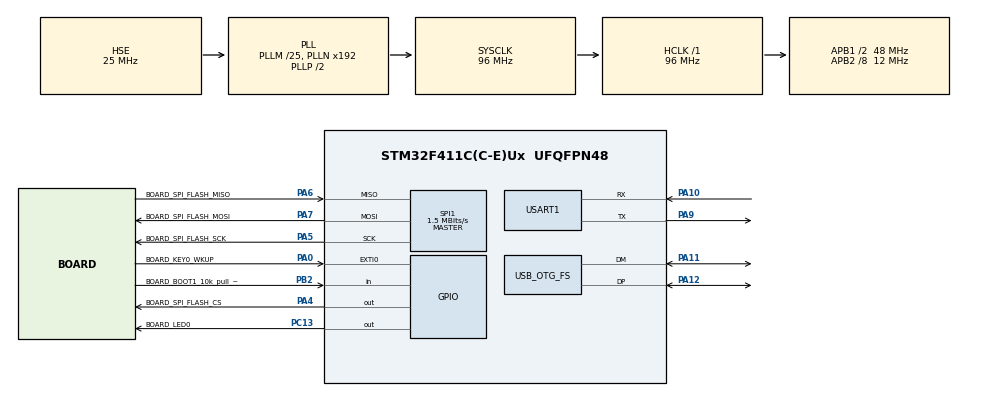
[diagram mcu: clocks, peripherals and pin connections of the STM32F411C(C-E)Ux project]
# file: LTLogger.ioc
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Mcu.Family=STM32F4
Mcu.Name=STM32F411C(C-E)Ux
Mcu.Package=UFQFPN48
Mcu.UserConstants=BOARD_LED0_polarity,0;BOARD_SPI_FLASH,$$_SPI1_IP_HANDLE_$$;BOARD_SPI_FLASH_CSpolarity,0;UART_TRACE,$$_USART1_IP_HANDLE_$$;BOARD_Xtal,25000000;BOARD_KEY0_polarity,0;BOARD_MEM_flash,512;BOARD_MEM_ram,128;BOARD_SPI_FLASH_size,8MBx8;BOARD_SPI_FLASH_pages,32768;BOARD_SPI_FLASH_pagesize,256;BOARD_SPI_FLASH_erasePageCntFor4k,16;BOARD_SPI_FLASH_erasePageCntFor32k,128;BOARD_SPI_FLASH_erasePageCntFor64k,256;BOARD_SPI_FLASH_eraseFull,full_chip_erase
NVIC.EXTI0_IRQn=true\:0\:0\:false\:false\:true\:true\:true\:true
NVIC.OTG_FS_IRQn=true\:0\:0\:false\:false\:true\:false\:true\:true
NVIC.PriorityGroup=NVIC_PRIORITYGROUP_4
NVIC.TIM1_TRG_COM_TIM11_IRQn=true\:15\:0\:false\:false\:true\:false\:true\:true
NVIC.TimeBase=TIM1_TRG_COM_TIM11_IRQn
NVIC.TimeBaseIP=TIM11
PA0-WKUP.GPIO_Label=BOARD_KEY0_WKUP
PA0-WKUP.GPIO_ModeDefaultEXTI=GPIO_MODE_IT_RISING_FALLING
PA0-WKUP.GPIO_PuPd=GPIO_PULLUP
PA0-WKUP.Signal=GPXTI0
PA10.Mode=Asynchronous
PA10.Signal=USART1_RX
PA11.Mode=Device_Only
PA11.Signal=USB_OTG_FS_DM
PA12.Mode=Device_Only
PA12.Signal=USB_OTG_FS_DP
PA13.Mode=Trace_Asynchronous_SW
PA13.Signal=SYS_JTMS-SWDIO
PA14.Mode=Trace_Asynchronous_SW
PA14.Signal=SYS_JTCK-SWCLK
PA4.GPIO_Label=BOARD_SPI_FLASH_CS
PA4.GPIO_Speed=GPIO_SPEED_FREQ_VERY_HIGH
PA4.PinState=GPIO_PIN_SET
PA4.Signal=GPIO_Output
PA5.GPIO_Label=BOARD_SPI_FLASH_SCK
PA5.Mode=Full_Duplex_Master
PA5.Signal=SPI1_SCK
PA6.GPIO_Label=BOARD_SPI_FLASH_MISO
PA6.Mode=Full_Duplex_Master
PA6.Signal=SPI1_MISO
PA7.GPIO_Label=BOARD_SPI_FLASH_MOSI
PA7.Mode=Full_Duplex_Master
PA7.Signal=SPI1_MOSI
PA9.Mode=Asynchronous
PA9.Signal=USART1_TX
PB2.GPIO_Label=BOARD_BOOT1_10k_pull_down
PB2.Signal=GPIO_Input
PB3.Mode=Trace_Asynchronous_SW
PB3.Signal=SYS_JTDO-SWO
PC13-ANTI_TAMP.GPIO_Label=BOARD_LED0
PC13-ANTI_TAMP.PinState=GPIO_PIN_SET
PC13-ANTI_TAMP.Signal=GPIO_Output
PC14-OSC32_IN.Mode=LSE-External-Oscillator
PC14-OSC32_IN.Signal=RCC_OSC32_IN
PC15-OSC32_OUT.Mode=LSE-External-Oscillator
PC15-OSC32_OUT.Signal=RCC_OSC32_OUT
PH0\ -\ OSC_IN.Mode=HSE-External-Oscillator
PH0\ -\ OSC_IN.Signal=RCC_OSC_IN
PH1\ -\ OSC_OUT.Mode=HSE-External-Oscillator
PH1\ -\ OSC_OUT.Signal=RCC_OSC_OUT
ProjectManager.HeapSize=0x200
ProjectManager.StackSize=0x400
ProjectManager.TargetToolchain=CMake
RCC.48MHZClocksFreq_Value=48000000
RCC.AHBFreq_Value=96000000
RCC.APB1CLKDivider=RCC_HCLK_DIV2
RCC.APB1Freq_Value=48000000
RCC.APB1TimFreq_Value=96000000
RCC.APB2CLKDivider=RCC_HCLK_DIV8
RCC.APB2Freq_Value=12000000
RCC.APB2TimFreq_Value=24000000
RCC.CortexFreq_Value=96000000
RCC.EnbaleCSS=true
RCC.HCLKFreq_Value=96000000
RCC.HSE_VALUE=25000000
RCC.HSI_VALUE=16000000
RCC.PLLM=25
RCC.RCC_RTC_Clock_Source=RCC_RTCCLKSOURCE_LSE
RCC.RCC_RTC_Clock_SourceVirtual=RCC_RTCCLKSOURCE_LSE
RCC.SYSCLKFreq_VALUE=96000000
RCC.SYSCLKSource=RCC_SYSCLKSOURCE_PLLCLK
RCC.VCOOutputFreq_Value=192000000
RTC.Date=16
RTC.Hours=23
RTC.Minutes=48
RTC.Month=RTC_MONTH_JUNE
RTC.Seconds=5
RTC.WeekDay=RTC_WEEKDAY_TUESDAY
RTC.Year=26
SPI1.BaudRatePrescaler=SPI_BAUDRATEPRESCALER_8
SPI1.CRCCalculation=SPI_CRCCALCULATION_DISABLE
SPI1.CalculateBaudRate=1.5 MBits/s
SPI1.DataSize=SPI_DATASIZE_8BIT
SPI1.Direction=SPI_DIRECTION_2LINES
SPI1.Mode=SPI_MODE_MASTER
SPI1.VirtualType=VM_MASTER
USART1.VirtualMode=VM_ASYNC
USB_DEVICE.CLASS_NAME_FS=CDC
USB_DEVICE.MANUFACTURER_STRING=ZK
USB_DEVICE.PID_CDC_FS=22336
USB_DEVICE.PRODUCT_STRING_CDC_FS=Specialized DACQ Trace Port
USB_DEVICE.VID=1155
USB_DEVICE.VirtualMode=Cdc
USB_DEVICE.VirtualModeFS=Cdc_FS
USB_OTG_FS.VirtualMode=Device_Only
VP_CRC_VS_CRC.Mode=CRC_Activate
VP_RTC_VS_RTC_Activate.Mode=RTC_Enabled
VP_RTC_VS_RTC_Calendar.Mode=RTC_Calendar
VP_SYS_VS_tim11.Mode=TIM11
VP_USB_DEVICE_VS_USB_DEVICE_CDC_FS.Mode=CDC_FS
board=custom

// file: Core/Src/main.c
/* USER CODE BEGIN Header */
/**
  ******************************************************************************
  * @file           : main.c
  * @brief          : Main program body
  ******************************************************************************
  * @attention
  *
  * Copyright (c) 2026 STMicroelectronics.
  * All rights reserved.
  *
  * This software is licensed under terms that can be found in the LICENSE file
  * in the root directory of this software component.
  * If no LICENSE file comes with this software, it is provided AS-IS.
  *
  ******************************************************************************
  */
/* USER CODE END Header */
#include "main.h"
#include "usb_device.h"

/* USER CODE BEGIN Includes */
#include <ctype.h>

#include "BoardLed.h"
#include "ZRTC.h"
#include "DataLogger.h"
#include "W25Qxx.h"

#include "usbd_cdc_if.h"

/* USER CODE END Includes */

/* USER CODE BEGIN PD */
#define RAMBLOCK_CNT_bkpreg    RTC_BKP_DR5

/* USER CODE END PD */

CRC_HandleTypeDef hcrc;

RTC_HandleTypeDef hrtc;

SPI_HandleTypeDef hspi1;

UART_HandleTypeDef huart1;

void SystemClock_Config(void);

static void MX_GPIO_Init(void);

static void MX_RTC_Init(void);

static void MX_USART1_UART_Init(void);

static void MX_CRC_Init(void);

static void MX_SPI1_Init(void);

/* USER CODE BEGIN 0 */
volatile bool flegLogDumpRequested = false;

void HAL_GPIO_EXTI_Callback(uint16_t GPIO_Pin) {
	GPIO_PinState prikit = HAL_GPIO_ReadPin(BOARD_KEY0_WKUP_GPIO_Port, BOARD_KEY0_WKUP_Pin);
	if (prikit == GPIO_PIN_RESET) {
		flegLogDumpRequested = true;
	}
}

void dampujAkoJePrikit() {
	extern USBD_HandleTypeDef hUsbDeviceFS;
	USBD_CDC_HandleTypeDef *hcdc = NULL;
	if (hUsbDeviceFS.pClassData != NULL) {
		hcdc = (USBD_CDC_HandleTypeDef *) hUsbDeviceFS.pClassData;
	}
	if (flegLogDumpRequested == true) {
		char buf[100] = {0};
		for (int i = 0; i < LogStatus.nextRamRecord; ++i) {
			DataLogger_GetRecordString(buf, sizeof(buf), i);

			uint32_t abortDelay = 2000;
			uint8_t status = USBD_BUSY;
			while (abortDelay > 0) {
				status = CDC_Transmit_FS((uint8_t *) buf, strlen(buf));
				if (USBD_BUSY == status) {
					abortDelay--;
					HAL_Delay(2); // sacekaj da USBD bude spreman
				} else {
					HAL_Delay(5); // throttle a little bit
					break;
				}
			}

			// CRITICAL SAFETY NET: If the request was successful, wait for the
			// physical USB hardware to finish broadcasting the bytes over the wire
			// BEFORE allowing the for-loop to run again and overwrite "buf".
			if (status == USBD_OK && hcdc != NULL) {
				uint32_t txSafetyTimeout = 2000;
				while (hcdc->TxState != 0) {
					HAL_Delay(1); // wait for physical USB hardware to finish broadcasting
					if (--txSafetyTimeout == 0) {
						break; // Stop waiting if the host computer froze or unplugged
					}
				}
			}
		}

		CDC_Transmit_FS((uint8_t *)"\n\r", strlen("\n\r"));
		HAL_Delay(200); // some time to finish
		flegLogDumpRequested = false;
	}
}

/* USER CODE END 0 */

int main(void) {

	/* MCU Configuration--------------------------------------------------------*/

	/* Reset of all peripherals, Initializes the Flash interface and the Systick. */
	HAL_Init();

	/* Configure the system clock */
	SystemClock_Config();

	/* USER CODE BEGIN SysInit */

	ledBlink(20);
	ledBlink(20);

	/* USER CODE END SysInit */

	/* Initialize all configured peripherals */
	MX_GPIO_Init();
	MX_RTC_Init();
	MX_USART1_UART_Init();
	MX_USB_DEVICE_Init();
	MX_CRC_Init();
	MX_SPI1_Init();

	/* Infinite loop */
	/* USER CODE BEGIN WHILE */

	int x = 0;
	DataLogger_Init();

	W25Q_Reset();
	uint32_t manuf = W25Q_ManufacturerDeviceID();
	uint32_t jedid = W25Q_ReadID();
	uint32_t uniq = W25Q_UniqueID();

	constexpr uint32_t flashPagesPerRamBlock = ( (1024*MAX_RAM_BUFFER_KB) / W25Q_WRITE_PAGE_SIZE );
	constexpr uint32_t ramBlocksPerW25Qflash = ( W25Q_FLASH_SIZE / (1024*MAX_RAM_BUFFER_KB) );
	uint32_t ramBlockCnt = 	zRTC_Get_BKPreg(RAMBLOCK_CNT_bkpreg);
	if (ramBlockCnt >= ramBlocksPerW25Qflash) {
		ramBlockCnt = 0;
		zRTC_Set_BKPreg(RAMBLOCK_CNT_bkpreg, 0);
	}

	uint16_t fakeSensors[3] = {0};
	uint16_t idxx = 0;
	while (1) {
		ledBlink(10);

		RTC_TimeTypeDef sT = {0};
		RTC_DateTypeDef sD = {0};
		zRTC_GetTimeDate(&sT, &sD);

		fakeSensors[0] = idxx++;
		fakeSensors[1] = idxx++;
		fakeSensors[2] = idxx++;
		RamBuffer_Append(&sT, &sD, fakeSensors, sizeof(fakeSensors));

		if (true == LogStatus.ramFull) {
			// RAM bafer popunjen, prepisi ga u flash
			uint32_t flashRawPage = ramBlockCnt * flashPagesPerRamBlock;
			W25Q_Write_AppendOnly(flashRawPage, 0, sizeof(LogData),  (uint8_t*)&LogData);
			ramBlockCnt++;
			zRTC_Set_BKPreg(RAMBLOCK_CNT_bkpreg, ramBlockCnt);
			LogStatus.ramFull = false;
			LogStatus.nextRamRecord = 0;
		}

		if (ramBlockCnt >= ramBlocksPerW25Qflash) {
			ramBlockCnt = 0;
			zRTC_Set_BKPreg(RAMBLOCK_CNT_bkpreg, ramBlockCnt);
			DataLogger_Init();
		}

		HAL_Delay(2000);

		if (flegLogDumpRequested == true) {
			char ponovo[] = "press again to dump the buffer once more\n\r";
			char obrisi[] = "press and hold 5Sec to erase flash\n\r";
			for ( ; ; ) {
				ledBlink(50);		// rapid blink -> waiting for user input
				HAL_Delay(50);
				if (flegLogDumpRequested == true) {
					dampujAkoJePrikit();
					CDC_Transmit_FS((uint8_t *) ponovo, strlen(ponovo));
					HAL_Delay(200);
					CDC_Transmit_FS((uint8_t *) obrisi, strlen(obrisi));
					HAL_Delay(100);
				}
			}

			// if (trigger_erase == true) {
			// 	W25Q_Reset();
			// 	W25Q_Chip_Erase();
			// 	DataLogger_Init();
			// 	ramBlockCnt = 0;
			// 	zRTC_Set_BKPreg(RAMBLOCK_CNT_bkpreg, ramBlockCnt);
			// 	trigger_erase = false;
			// }
		} else {
			char bfr[100] = {0}; // Buffer to store the formatted text string
			zRTC_GetTimeDateString(bfr, sizeof(bfr));
			CDC_Transmit_FS((uint8_t *) bfr, strlen(bfr));
		}

		/* USER CODE END WHILE */

	}
}

void SystemClock_Config(void) {
	RCC_OscInitTypeDef RCC_OscInitStruct = {0};
	RCC_ClkInitTypeDef RCC_ClkInitStruct = {0};

	/** Configure the main internal regulator output voltage
	*/
	__HAL_RCC_PWR_CLK_ENABLE();
	__HAL_PWR_VOLTAGESCALING_CONFIG(PWR_REGULATOR_VOLTAGE_SCALE1);

	/** Initializes the RCC Oscillators according to the specified parameters
	* in the RCC_OscInitTypeDef structure.
	*/
	RCC_OscInitStruct.OscillatorType = RCC_OSCILLATORTYPE_HSE | RCC_OSCILLATORTYPE_LSE;
	RCC_OscInitStruct.HSEState = RCC_HSE_ON;
	RCC_OscInitStruct.LSEState = RCC_LSE_ON;
	RCC_OscInitStruct.PLL.PLLState = RCC_PLL_ON;
	RCC_OscInitStruct.PLL.PLLSource = RCC_PLLSOURCE_HSE;
	RCC_OscInitStruct.PLL.PLLM = 25;
	RCC_OscInitStruct.PLL.PLLN = 192;
	RCC_OscInitStruct.PLL.PLLP = RCC_PLLP_DIV2;
	RCC_OscInitStruct.PLL.PLLQ = 4;
	if (HAL_RCC_OscConfig(&RCC_OscInitStruct) != HAL_OK) {
		Error_Handler();
	}

	/** Initializes the CPU, AHB and APB buses clocks
	*/
	RCC_ClkInitStruct.ClockType = RCC_CLOCKTYPE_HCLK | RCC_CLOCKTYPE_SYSCLK
								| RCC_CLOCKTYPE_PCLK1 | RCC_CLOCKTYPE_PCLK2;
	RCC_ClkInitStruct.SYSCLKSource = RCC_SYSCLKSOURCE_PLLCLK;
	RCC_ClkInitStruct.AHBCLKDivider = RCC_SYSCLK_DIV1;
	RCC_ClkInitStruct.APB1CLKDivider = RCC_HCLK_DIV2;
	RCC_ClkInitStruct.APB2CLKDivider = RCC_HCLK_DIV8;

	if (HAL_RCC_ClockConfig(&RCC_ClkInitStruct, FLASH_LATENCY_3) != HAL_OK) {
		Error_Handler();
	}

	/** Enables the Clock Security System
	*/
	HAL_RCC_EnableCSS();
}

static void MX_CRC_Init(void) {

	hcrc.Instance = CRC;
	if (HAL_CRC_Init(&hcrc) != HAL_OK) {
		Error_Handler();
	}
}

static void MX_RTC_Init(void) {

	RTC_TimeTypeDef sTime = {0};
	RTC_DateTypeDef sDate = {0};

	/** Initialize RTC Only
	*/
	hrtc.Instance = RTC;
	hrtc.Init.HourFormat = RTC_HOURFORMAT_24;
	hrtc.Init.AsynchPrediv = 127;
	hrtc.Init.SynchPrediv = 255;
	hrtc.Init.OutPut = RTC_OUTPUT_DISABLE;
	hrtc.Init.OutPutPolarity = RTC_OUTPUT_POLARITY_HIGH;
	hrtc.Init.OutPutType = RTC_OUTPUT_TYPE_OPENDRAIN;
	if (HAL_RTC_Init(&hrtc) != HAL_OK) {
		Error_Handler();
	}

	/* USER CODE BEGIN Check_RTC_BKUP */

	uint16_t MAGIC_NUM = 0x1177;
#define MAGIC_REG RTC_BKP_DR2
	uint32_t prev = HAL_RTCEx_BKUPRead(&hrtc, MAGIC_REG); // ako nadjes magic number, RTC je vec konfigurisan
	GPIO_PinState btn = HAL_GPIO_ReadPin(BOARD_KEY0_WKUP_GPIO_Port, BOARD_KEY0_WKUP_Pin); // ako je pritisnuto dugme

	if (prev == MAGIC_NUM) {
		if (btn != BOARD_KEY0_polarity) {
			// "!= active_polarity" tj nije aktivno tj "nije pritisnuto"
			return; // vec postoji magic number a nije pritisnuto "override" dugme
		}
	}

	/* USER CODE END Check_RTC_BKUP */

	/** Initialize RTC and set the Time and Date
	*/
	sTime.Hours = 0x23;
	sTime.Minutes = 0x48;
	sTime.Seconds = 0x5;
	sTime.DayLightSaving = RTC_DAYLIGHTSAVING_NONE;
	sTime.StoreOperation = RTC_STOREOPERATION_RESET;
	if (HAL_RTC_SetTime(&hrtc, &sTime, RTC_FORMAT_BCD) != HAL_OK) {
		Error_Handler();
	}
	sDate.WeekDay = RTC_WEEKDAY_TUESDAY;
	sDate.Month = RTC_MONTH_JUNE;
	sDate.Date = 0x16;
	sDate.Year = 0x26;

	if (HAL_RTC_SetDate(&hrtc, &sDate, RTC_FORMAT_BCD) != HAL_OK) {
		Error_Handler();
	}
	/* USER CODE BEGIN RTC_Init 2 */

	HAL_PWR_EnableBkUpAccess();
	HAL_RTCEx_BKUPWrite(&hrtc, MAGIC_REG, MAGIC_NUM); // zabelezi da je konfigurisano pre nego sto zaboravis
	HAL_PWR_DisableBkUpAccess();

	/* USER CODE END RTC_Init 2 */
}

static void MX_SPI1_Init(void) {

	/* SPI1 parameter configuration*/
	hspi1.Instance = SPI1;
	hspi1.Init.Mode = SPI_MODE_MASTER;
	hspi1.Init.Direction = SPI_DIRECTION_2LINES;
	hspi1.Init.DataSize = SPI_DATASIZE_8BIT;
	hspi1.Init.CLKPolarity = SPI_POLARITY_LOW;
	hspi1.Init.CLKPhase = SPI_PHASE_1EDGE;
	hspi1.Init.NSS = SPI_NSS_SOFT;
	hspi1.Init.BaudRatePrescaler = SPI_BAUDRATEPRESCALER_8;
	hspi1.Init.FirstBit = SPI_FIRSTBIT_MSB;
	hspi1.Init.TIMode = SPI_TIMODE_DISABLE;
	hspi1.Init.CRCCalculation = SPI_CRCCALCULATION_DISABLE;
	hspi1.Init.CRCPolynomial = 10;
	if (HAL_SPI_Init(&hspi1) != HAL_OK) {
		Error_Handler();
	}
}

static void MX_USART1_UART_Init(void) {

	huart1.Instance = USART1;
	huart1.Init.BaudRate = 115200;
	huart1.Init.WordLength = UART_WORDLENGTH_8B;
	huart1.Init.StopBits = UART_STOPBITS_1;
	huart1.Init.Parity = UART_PARITY_NONE;
	huart1.Init.Mode = UART_MODE_TX_RX;
	huart1.Init.HwFlowCtl = UART_HWCONTROL_NONE;
	huart1.Init.OverSampling = UART_OVERSAMPLING_16;
	if (HAL_UART_Init(&huart1) != HAL_OK) {
		Error_Handler();
	}
}

static void MX_GPIO_Init(void) {
	GPIO_InitTypeDef GPIO_InitStruct = {0};

	/* GPIO Ports Clock Enable */
	__HAL_RCC_GPIOC_CLK_ENABLE();
	__HAL_RCC_GPIOH_CLK_ENABLE();
	__HAL_RCC_GPIOA_CLK_ENABLE();
	__HAL_RCC_GPIOB_CLK_ENABLE();

	/*Configure GPIO pin Output Level */
	HAL_GPIO_WritePin(BOARD_LED0_GPIO_Port, BOARD_LED0_Pin, GPIO_PIN_SET);

	/*Configure GPIO pin Output Level */
	HAL_GPIO_WritePin(BOARD_SPI_FLASH_CS_GPIO_Port, BOARD_SPI_FLASH_CS_Pin, GPIO_PIN_SET);

	/*Configure GPIO pin : BOARD_LED0_Pin */
	GPIO_InitStruct.Pin = BOARD_LED0_Pin;
	GPIO_InitStruct.Mode = GPIO_MODE_OUTPUT_PP;
	GPIO_InitStruct.Pull = GPIO_NOPULL;
	GPIO_InitStruct.Speed = GPIO_SPEED_FREQ_LOW;
	HAL_GPIO_Init(BOARD_LED0_GPIO_Port, &GPIO_InitStruct);

	/*Configure GPIO pin : BOARD_KEY0_WKUP_Pin */
	GPIO_InitStruct.Pin = BOARD_KEY0_WKUP_Pin;
	GPIO_InitStruct.Mode = GPIO_MODE_IT_RISING_FALLING;
	GPIO_InitStruct.Pull = GPIO_PULLUP;
	HAL_GPIO_Init(BOARD_KEY0_WKUP_GPIO_Port, &GPIO_InitStruct);

	/*Configure GPIO pin : BOARD_SPI_FLASH_CS_Pin */
	GPIO_InitStruct.Pin = BOARD_SPI_FLASH_CS_Pin;
	GPIO_InitStruct.Mode = GPIO_MODE_OUTPUT_PP;
	GPIO_InitStruct.Pull = GPIO_NOPULL;
	GPIO_InitStruct.Speed = GPIO_SPEED_FREQ_VERY_HIGH;
	HAL_GPIO_Init(BOARD_SPI_FLASH_CS_GPIO_Port, &GPIO_InitStruct);

	/*Configure GPIO pin : BOARD_BOOT1_10k_pull_down_Pin */
	GPIO_InitStruct.Pin = BOARD_BOOT1_10k_pull_down_Pin;
	GPIO_InitStruct.Mode = GPIO_MODE_INPUT;
	GPIO_InitStruct.Pull = GPIO_NOPULL;
	HAL_GPIO_Init(BOARD_BOOT1_10k_pull_down_GPIO_Port, &GPIO_InitStruct);

	/* EXTI interrupt init*/
	HAL_NVIC_SetPriority(EXTI0_IRQn, 0, 0);
	HAL_NVIC_EnableIRQ(EXTI0_IRQn);

}

void HAL_TIM_PeriodElapsedCallback(TIM_HandleTypeDef *htim) {
	if (htim->Instance == TIM11) {
		HAL_IncTick();
	}
}

void Error_Handler(void) {
	__disable_irq();
	while (1) {
	}
}
